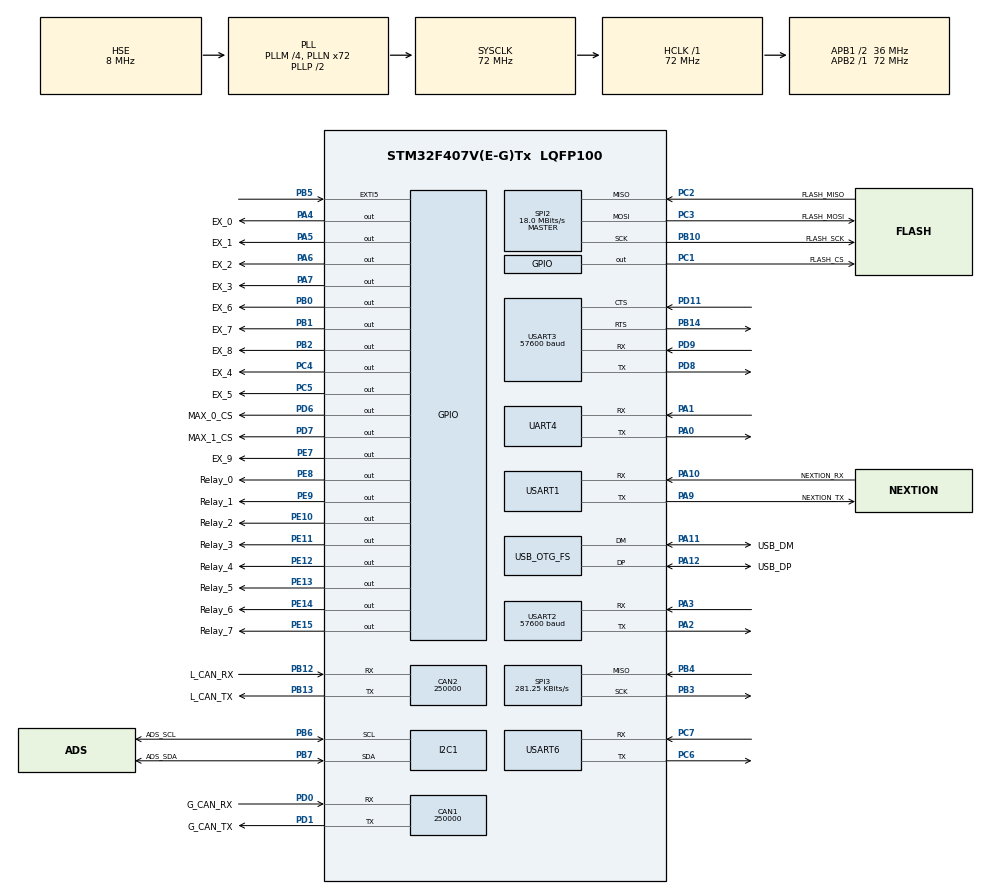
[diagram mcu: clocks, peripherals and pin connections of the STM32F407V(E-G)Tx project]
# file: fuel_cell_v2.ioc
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CAN1.BS1=CAN_BS1_4TQ
CAN1.BS2=CAN_BS2_4TQ
CAN1.CalculateBaudRate=250000
CAN1.CalculateTimeBit=4000
CAN1.CalculateTimeQuantum=444.44444444444446
CAN2.BS1=CAN_BS1_4TQ
CAN2.BS2=CAN_BS2_4TQ
CAN2.CalculateBaudRate=250000
CAN2.CalculateTimeBit=4000
CAN2.CalculateTimeQuantum=444.44444444444446
Dma.Request0=USART2_RX
Dma.Request1=USART3_RX
Dma.USART2_RX.0.Direction=DMA_PERIPH_TO_MEMORY
Dma.USART2_RX.0.FIFOMode=DMA_FIFOMODE_DISABLE
Dma.USART2_RX.0.Instance=DMA1_Stream5
Dma.USART2_RX.0.MemDataAlignment=DMA_MDATAALIGN_BYTE
Dma.USART2_RX.0.MemInc=DMA_MINC_ENABLE
Dma.USART2_RX.0.Mode=DMA_CIRCULAR
Dma.USART2_RX.0.PeriphDataAlignment=DMA_PDATAALIGN_BYTE
Dma.USART2_RX.0.PeriphInc=DMA_PINC_DISABLE
Dma.USART2_RX.0.Priority=DMA_PRIORITY_LOW
Dma.USART3_RX.1.Direction=DMA_PERIPH_TO_MEMORY
Dma.USART3_RX.1.FIFOMode=DMA_FIFOMODE_DISABLE
Dma.USART3_RX.1.Instance=DMA1_Stream1
Dma.USART3_RX.1.MemDataAlignment=DMA_MDATAALIGN_BYTE
Dma.USART3_RX.1.MemInc=DMA_MINC_ENABLE
Dma.USART3_RX.1.Mode=DMA_CIRCULAR
Dma.USART3_RX.1.PeriphDataAlignment=DMA_PDATAALIGN_BYTE
Dma.USART3_RX.1.PeriphInc=DMA_PINC_DISABLE
Dma.USART3_RX.1.Priority=DMA_PRIORITY_LOW
FREERTOS.Tasks01=FSMTask,24,128,fsmtask,Default,NULL,Dynamic,NULL,NULL;sensorTask,8,128,sensortask,Default,NULL,Dynamic,NULL,NULL;commTask,40,128,commtask,Default,NULL,Dynamic,NULL,NULL
FREERTOS.configENABLE_FPU=1
FREERTOS.configMINIMAL_STACK_SIZE=64
FREERTOS.configUSE_NEWLIB_REENTRANT=1
Mcu.Family=STM32F4
Mcu.Name=STM32F407V(E-G)Tx
Mcu.Package=LQFP100
NVIC.CAN1_RX0_IRQn=true\:5\:0\:false\:false\:true\:true\:true\:true\:true
NVIC.CAN1_RX1_IRQn=true\:5\:0\:false\:false\:true\:true\:true\:true\:true
NVIC.CAN2_RX0_IRQn=true\:5\:0\:false\:false\:true\:true\:true\:true\:true
NVIC.CAN2_RX1_IRQn=true\:5\:0\:false\:false\:true\:true\:true\:true\:true
NVIC.DMA1_Stream1_IRQn=true\:5\:0\:false\:false\:true\:true\:false\:true\:true
NVIC.DMA1_Stream5_IRQn=true\:5\:0\:false\:false\:true\:true\:false\:true\:true
NVIC.OTG_FS_IRQn=true\:5\:0\:false\:false\:true\:true\:false\:true\:true
NVIC.PriorityGroup=NVIC_PRIORITYGROUP_4
PA0-WKUP.Mode=Asynchronous
PA0-WKUP.Signal=UART4_TX
PA1.Mode=Asynchronous
PA1.Signal=UART4_RX
PA10.GPIO_Label=NEXTION_RX
PA10.Mode=Asynchronous
PA10.Signal=USART1_RX
PA11.GPIO_Label=USB_DM
PA11.Mode=Device_Only
PA11.Signal=USB_OTG_FS_DM
PA12.GPIO_Label=USB_DP
PA12.Mode=Device_Only
PA12.Signal=USB_OTG_FS_DP
PA13.Mode=Serial_Wire
PA13.Signal=SYS_JTMS-SWDIO
PA14.Mode=Serial_Wire
PA14.Signal=SYS_JTCK-SWCLK
PA2.Mode=Asynchronous
PA2.Signal=USART2_TX
PA3.Mode=Asynchronous
PA3.Signal=USART2_RX
PA4.GPIO_Label=EX_0
PA4.GPIO_ModeDefaultOutputPP=GPIO_MODE_OUTPUT_PP
PA4.GPIO_PuPd=GPIO_PULLUP
PA4.PinState=GPIO_PIN_SET
PA4.Signal=GPIO_Output
PA5.GPIO_Label=EX_1
PA5.GPIO_ModeDefaultOutputPP=GPIO_MODE_OUTPUT_PP
PA5.GPIO_PuPd=GPIO_PULLUP
PA5.PinState=GPIO_PIN_SET
PA5.Signal=GPIO_Output
PA6.GPIO_Label=EX_2
PA6.GPIO_ModeDefaultOutputPP=GPIO_MODE_OUTPUT_OD
PA6.GPIO_PuPd=GPIO_PULLUP
PA6.PinState=GPIO_PIN_SET
PA6.Signal=GPIO_Output
PA7.GPIO_Label=EX_3
PA7.GPIO_ModeDefaultOutputPP=GPIO_MODE_OUTPUT_OD
PA7.GPIO_PuPd=GPIO_PULLUP
PA7.PinState=GPIO_PIN_SET
PA7.Signal=GPIO_Output
PA9.GPIO_Label=NEXTION_TX
PA9.Mode=Asynchronous
PA9.Signal=USART1_TX
PB0.GPIO_Label=EX_6
PB0.Signal=GPIO_Output
PB1.GPIO_Label=EX_7
PB1.Signal=GPIO_Output
PB10.GPIO_Label=FLASH_SCK
PB10.Mode=Full_Duplex_Master
PB10.Signal=SPI2_SCK
PB12.GPIO_Label=L_CAN_RX
PB12.GPIO_PuPd=GPIO_PULLUP
PB12.Mode=CAN_Activate
PB12.Signal=CAN2_RX
PB13.GPIO_Label=L_CAN_TX
PB13.Mode=CAN_Activate
PB13.Signal=CAN2_TX
PB14.Mode=CTS_RTS
PB14.Signal=USART3_RTS
PB2.GPIO_Label=EX_8
PB2.Signal=GPIO_Output
PB3.Mode=RX_Only_Simplex_Unidirect_Master
PB3.Signal=SPI3_SCK
PB4.Mode=RX_Only_Simplex_Unidirect_Master
PB4.Signal=SPI3_MISO
PB5.Signal=GPXTI5
PB6.GPIO_Label=ADS_SCL
PB6.Mode=I2C
PB6.Signal=I2C1_SCL
PB7.GPIO_Label=ADS_SDA
PB7.Mode=I2C
PB7.Signal=I2C1_SDA
PC1.GPIO_Label=FLASH_CS
PC1.Signal=GPIO_Output
PC14-OSC32_IN.Mode=LSE-External-Oscillator
PC14-OSC32_IN.Signal=RCC_OSC32_IN
PC15-OSC32_OUT.Mode=LSE-External-Oscillator
PC15-OSC32_OUT.Signal=RCC_OSC32_OUT
PC2.GPIO_Label=FLASH_MISO
PC2.Mode=Full_Duplex_Master
PC2.Signal=SPI2_MISO
PC3.GPIO_Label=FLASH_MOSI
PC3.Mode=Full_Duplex_Master
PC3.Signal=SPI2_MOSI
PC4.GPIO_Label=EX_4
PC4.Signal=GPIO_Output
PC5.GPIO_Label=EX_5
PC5.Signal=GPIO_Output
PC6.Mode=Asynchronous
PC6.Signal=USART6_TX
PC7.Mode=Asynchronous
PC7.Signal=USART6_RX
PD0.GPIO_Label=G_CAN_RX
PD0.GPIO_PuPd=GPIO_PULLUP
PD0.Mode=CAN_Activate
PD0.Signal=CAN1_RX
PD1.GPIO_Label=G_CAN_TX
PD1.Mode=CAN_Activate
PD1.Signal=CAN1_TX
PD11.Mode=CTS_RTS
PD11.Signal=USART3_CTS
PD6.GPIO_Label=MAX_0_CS
PD6.Signal=GPIO_Output
PD7.GPIO_Label=MAX_1_CS
PD7.Signal=GPIO_Output
PD8.Mode=Asynchronous
PD8.Signal=USART3_TX
PD9.Mode=Asynchronous
PD9.Signal=USART3_RX
PE10.GPIO_Label=Relay_2
PE10.Signal=GPIO_Output
PE11.GPIO_Label=Relay_3
PE11.Signal=GPIO_Output
PE12.GPIO_Label=Relay_4
PE12.Signal=GPIO_Output
PE13.GPIO_Label=Relay_5
PE13.Signal=GPIO_Output
PE14.GPIO_Label=Relay_6
PE14.Signal=GPIO_Output
PE15.GPIO_Label=Relay_7
PE15.Signal=GPIO_Output
PE7.GPIO_Label=EX_9
PE7.Signal=GPIO_Output
PE8.GPIO_Label=Relay_0
PE8.Signal=GPIO_Output
PE9.GPIO_Label=Relay_1
PE9.Signal=GPIO_Output
PH0-OSC_IN.Mode=HSE-External-Oscillator
PH0-OSC_IN.Signal=RCC_OSC_IN
PH1-OSC_OUT.Mode=HSE-External-Oscillator
PH1-OSC_OUT.Signal=RCC_OSC_OUT
ProjectManager.HeapSize=0x200
ProjectManager.StackSize=0x400
ProjectManager.TargetToolchain=STM32CubeIDE
RCC.48MHZClocksFreq_Value=48000000
RCC.AHBFreq_Value=72000000
RCC.APB1CLKDivider=RCC_HCLK_DIV2
RCC.APB1Freq_Value=36000000
RCC.APB1TimFreq_Value=72000000
RCC.APB2Freq_Value=72000000
RCC.APB2TimFreq_Value=72000000
RCC.CortexFreq_Value=72000000
RCC.HCLKFreq_Value=72000000
RCC.HSE_VALUE=8000000
RCC.HSI_VALUE=16000000
RCC.PLLM=4
RCC.PLLN=72
RCC.PLLQ=3
RCC.SYSCLKFreq_VALUE=72000000
RCC.SYSCLKSource=RCC_SYSCLKSOURCE_PLLCLK
RCC.VCOOutputFreq_Value=144000000
SPI2.CalculateBaudRate=18.0 MBits/s
SPI2.Direction=SPI_DIRECTION_2LINES
SPI2.Mode=SPI_MODE_MASTER
SPI2.VirtualType=VM_MASTER
SPI3.BaudRatePrescaler=SPI_BAUDRATEPRESCALER_128
SPI3.CalculateBaudRate=281.25 KBits/s
SPI3.DataSize=SPI_DATASIZE_16BIT
SPI3.Direction=SPI_DIRECTION_2LINES_RXONLY
SPI3.Mode=SPI_MODE_MASTER
SPI3.VirtualType=VM_MASTER
UART4.VirtualMode=Asynchronous
USART1.VirtualMode=VM_ASYNC
USART2.BaudRate=57600
USART2.VirtualMode=VM_ASYNC
USART3.BaudRate=57600
USART3.VirtualMode=VM_ASYNC
USART6.VirtualMode=VM_ASYNC
USB_DEVICE.APP_RX_DATA_SIZE-CDC_FS=1024
USB_DEVICE.APP_TX_DATA_SIZE-CDC_FS=1024
USB_DEVICE.CLASS_NAME_FS=CDC
USB_DEVICE.VirtualMode-CDC_FS=Cdc
USB_DEVICE.VirtualModeFS=Cdc_FS
USB_OTG_FS.VirtualMode=Device_Only
VP_FREERTOS_VS_CMSIS_V2.Mode=CMSIS_V2
VP_USB_DEVICE_VS_USB_DEVICE_CDC_FS.Mode=CDC_FS
board=custom

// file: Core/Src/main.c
/* USER CODE BEGIN Header */
/**
 ******************************************************************************
 * @file           : main.c
 * @brief          : Main program body
 ******************************************************************************
 * @attention
 *
 * Copyright (c) 2025 STMicroelectronics.
 * All rights reserved.
 *
 * This software is licensed under terms that can be found in the LICENSE file
 * in the root directory of this software component.
 * If no LICENSE file comes with this software, it is provided AS-IS.
 *
 ******************************************************************************
 */
/* USER CODE END Header */
#include "main.h"
#include "cmsis_os.h"
#include "can.h"
#include "dma.h"
#include "i2c.h"
#include "spi.h"
#include "usart.h"
#include "usb_device.h"
#include "gpio.h"

/* USER CODE BEGIN Includes */
#include "usbd_cdc_if.h"

#include "fuelcell.h"
#include "w25qxx.h"
#define PAGE_SIZE 256

W25QXX_HandleTypeDef w25qxx; // Handler for all w25qxx operations!

uint8_t buf[PAGE_SIZE]; // Buffer the size of a page

/* USER CODE END Includes */

/* USER CODE BEGIN PTD */
//float temp0, temp1;
/* USER CODE END PTD */

void SystemClock_Config(void);
void MX_FREERTOS_Init(void);
/* USER CODE BEGIN PFP */

void fill_buffer(uint8_t pattern, uint8_t *buf, uint32_t len) {
    switch (pattern) {
    case 0:
        memset(buf, 0, len);
        break;
    case 1:
        memset(buf, 0xaa, len); // 10101010
        break;
    case 2:
        for (uint32_t i = 0; i < len; ++i)
            buf[i] = i % 256;
        break;
    default:
        break;
    }
}

/* USER CODE END PFP */

/* USER CODE BEGIN 0 */

uint8_t TxBuffer[] =
		"Hello World! From STM32 USB CDC Device To Virtual COM Port\r\n";
uint8_t TxBufferLen = sizeof(TxBuffer);

W25QXX_result_t res;

/* USER CODE END 0 */

int main(void)
{

  /* MCU Configuration--------------------------------------------------------*/

  /* Reset of all peripherals, Initializes the Flash interface and the Systick. */
  HAL_Init();

  /* Configure the system clock */
  SystemClock_Config();

  /* Initialize all configured peripherals */
  MX_GPIO_Init();
  MX_DMA_Init();
  MX_CAN1_Init();
  MX_CAN2_Init();
  MX_I2C1_Init();
  MX_USART1_UART_Init();
  MX_USART2_UART_Init();
  MX_SPI3_Init();
  MX_USART3_UART_Init();
  MX_USART6_UART_Init();
  MX_SPI2_Init();
  MX_UART4_Init();
  /* USER CODE BEGIN 2 */

  fc_init();

  // global should configured first
//  fc_can_gcan_init();
//  fc_can_lcan_init();

//	res = w25qxx_init(&w25qxx, &hspi2, FLASH_CS_GPIO_Port, FLASH_CS_Pin);
//
//
//	res = w25qxx_read(&w25qxx, 0, (uint8_t*) &buf, sizeof(buf));
//
//	fill_buffer(2, buf, sizeof(buf));
//
//	res = w25qxx_write(&w25qxx, 0, (uint8_t*) &buf, sizeof(buf));
//
//
//	res = w25qxx_read(&w25qxx, 0, (uint8_t*) &buf, sizeof(buf));

  /* USER CODE END 2 */

  /* Init scheduler */
  osKernelInitialize();  /* Call init function for freertos objects (in freertos.c) */
  MX_FREERTOS_Init();

  /* Start scheduler */
  osKernelStart();
  /* We should never get here as control is now taken by the scheduler */
  /* Infinite loop */
	while (1) {

	}
}

void SystemClock_Config(void)
{
  RCC_OscInitTypeDef RCC_OscInitStruct = {0};
  RCC_ClkInitTypeDef RCC_ClkInitStruct = {0};

  /** Configure the main internal regulator output voltage
  */
  __HAL_RCC_PWR_CLK_ENABLE();
  __HAL_PWR_VOLTAGESCALING_CONFIG(PWR_REGULATOR_VOLTAGE_SCALE1);

  /** Initializes the RCC Oscillators according to the specified parameters
  * in the RCC_OscInitTypeDef structure.
  */
  RCC_OscInitStruct.OscillatorType = RCC_OSCILLATORTYPE_HSE;
  RCC_OscInitStruct.HSEState = RCC_HSE_ON;
  RCC_OscInitStruct.PLL.PLLState = RCC_PLL_ON;
  RCC_OscInitStruct.PLL.PLLSource = RCC_PLLSOURCE_HSE;
  RCC_OscInitStruct.PLL.PLLM = 4;
  RCC_OscInitStruct.PLL.PLLN = 72;
  RCC_OscInitStruct.PLL.PLLP = RCC_PLLP_DIV2;
  RCC_OscInitStruct.PLL.PLLQ = 3;
  if (HAL_RCC_OscConfig(&RCC_OscInitStruct) != HAL_OK)
  {
    Error_Handler();
  }

  /** Initializes the CPU, AHB and APB buses clocks
  */
  RCC_ClkInitStruct.ClockType = RCC_CLOCKTYPE_HCLK|RCC_CLOCKTYPE_SYSCLK
                              |RCC_CLOCKTYPE_PCLK1|RCC_CLOCKTYPE_PCLK2;
  RCC_ClkInitStruct.SYSCLKSource = RCC_SYSCLKSOURCE_PLLCLK;
  RCC_ClkInitStruct.AHBCLKDivider = RCC_SYSCLK_DIV1;
  RCC_ClkInitStruct.APB1CLKDivider = RCC_HCLK_DIV2;
  RCC_ClkInitStruct.APB2CLKDivider = RCC_HCLK_DIV1;

  if (HAL_RCC_ClockConfig(&RCC_ClkInitStruct, FLASH_LATENCY_2) != HAL_OK)
  {
    Error_Handler();
  }
}

void Error_Handler(void)
{
	__disable_irq();
	while (1) {
	}
}

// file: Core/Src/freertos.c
/* USER CODE BEGIN Header */
/**
 ******************************************************************************
 * File Name          : freertos.c
 * Description        : Code for freertos applications
 ******************************************************************************
 * @attention
 *
 * Copyright (c) 2025 STMicroelectronics.
 * All rights reserved.
 *
 * This software is licensed under terms that can be found in the LICENSE file
 * in the root directory of this software component.
 * If no LICENSE file comes with this software, it is provided AS-IS.
 *
 ******************************************************************************
 */
/* USER CODE END Header */

#include "FreeRTOS.h"
#include "task.h"
#include "main.h"
#include "cmsis_os.h"

/* USER CODE BEGIN Includes */
#include "fuelcell.h"
#include "MAX6675.h"
#include "cerebral55.h"
#include "pressure_sensor.h"

#include "spi.h"
extern CAN_HandleTypeDef hcan2;
extern CAN_HandleTypeDef hcan1;
/* USER CODE END Includes */

/* Definitions for FSMTask */
osThreadId_t FSMTaskHandle;
const osThreadAttr_t FSMTask_attributes = {
  .name = "FSMTask",
  .stack_size = 128 * 4,
  .priority = (osPriority_t) osPriorityNormal,
};
/* Definitions for sensorTask */
osThreadId_t sensorTaskHandle;
const osThreadAttr_t sensorTask_attributes = {
  .name = "sensorTask",
  .stack_size = 128 * 4,
  .priority = (osPriority_t) osPriorityLow,
};
/* Definitions for commTask */
osThreadId_t commTaskHandle;
const osThreadAttr_t commTask_attributes = {
  .name = "commTask",
  .stack_size = 128 * 4,
  .priority = (osPriority_t) osPriorityHigh,
};

void fsmtask(void *argument);
void sensortask(void *argument);
void commtask(void *argument);

extern void MX_USB_DEVICE_Init(void);
void MX_FREERTOS_Init(void); /* (MISRA C 2004 rule 8.1) */

void MX_FREERTOS_Init(void) {

  /* Create the thread(s) */
  /* creation of FSMTask */
  FSMTaskHandle = osThreadNew(fsmtask, NULL, &FSMTask_attributes);

  /* creation of sensorTask */
  sensorTaskHandle = osThreadNew(sensortask, NULL, &sensorTask_attributes);

  /* creation of commTask */
  commTaskHandle = osThreadNew(commtask, NULL, &commTask_attributes);

}

void fsmtask(void *argument)
{
  /* init code for USB_DEVICE */
  MX_USB_DEVICE_Init();
  /* USER CODE BEGIN fsmtask */

	/* Infinite loop */
	for (;;) {
		fc_fsm_update();
		osDelay(500);
	}
  /* USER CODE END fsmtask */
}

void sensortask(void *argument)
{
  /* USER CODE BEGIN sensortask */
	/* Infinite loop */

	for (;;) {
		fc_sensor_ReaBlocking();
		fc_update();
		osDelay(200);

	}
  /* USER CODE END sensortask */
}

void commtask(void *argument)
{
  /* USER CODE BEGIN commtask */
  /* Infinite loop */

  for(;;)
  {
	fc_can_gcan_transmit();
    osDelay(100);
  }
  /* USER CODE END commtask */
}
